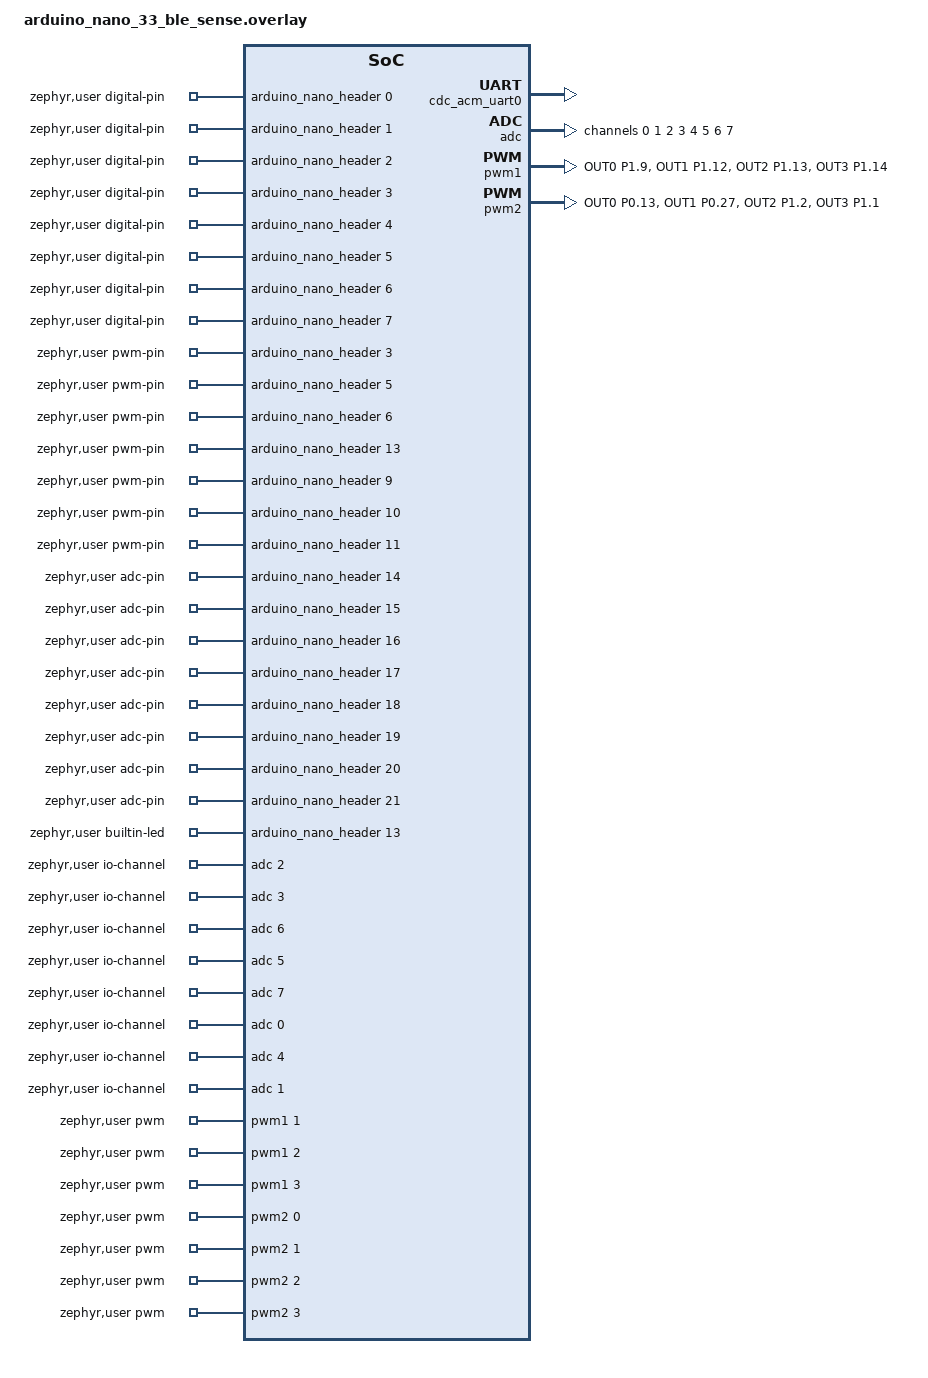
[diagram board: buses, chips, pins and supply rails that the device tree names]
&zephyr_udc0 {
	cdc_acm_uart0: cdc_acm_uart0 {
		compatible = "zephyr,cdc-acm-uart";
		status = "okay";
	};
};

&flash0 {
	partitions {
		compatible = "fixed-partitions";
		#address-cells = <1>;
		#size-cells = <1>;

		boot_partition: partition@0 {
			label = "sam-ba";
			reg = <0x00000000 0x00010000>;
			read-only;
		};

		code_partition: partition@10000 {
			label = "code";
			reg = <0x00010000 0x000d0000>;
			read-only;
		};

		user_sketch: partition@e0000 {
			label = "user";
			reg = <0x0e0000 0x18000>;
		};

		/*
		 * The flash starting at 0x000f8000 and ending at
		 * 0x000fffff is reserved for use by the application.
		 *
		 * Storage partition will be used by FCB/LittleFS/NVS
		 * if enabled.
		 */
		storage_partition: partition@f8000 {
			label = "storage";
			reg = <0x000f8000 0x00008000>;
		};
	};
};


/ {
	zephyr,user {
		digital-pin-gpios = <&arduino_nano_header 0 0>,
				    <&arduino_nano_header 1 0>,
				    <&arduino_nano_header 2 0>,
				    <&arduino_nano_header 3 0>,
				    <&arduino_nano_header 4 0>,
				    <&arduino_nano_header 5 0>,
				    <&arduino_nano_header 6 0>,
				    <&arduino_nano_header 7 0>,
				    <&arduino_nano_header 8 0>,
				    <&arduino_nano_header 9 0>,
				    <&arduino_nano_header 10 0>,
				    <&arduino_nano_header 11 0>,
				    <&arduino_nano_header 12 0>,
				    <&arduino_nano_header 13 0>,
				    <&arduino_nano_header 14 0>, /* D14 / A0 */
				    <&arduino_nano_header 15 0>,
				    <&arduino_nano_header 16 0>,
				    <&arduino_nano_header 17 0>,
				    <&arduino_nano_header 18 0>, /* D18 / A4 / I2C-SDA */
				    <&arduino_nano_header 19 0>, /* D19 / A5 / I2C-SCL */
				    <&arduino_nano_header 20 0>,
				    <&arduino_nano_header 21 0>;

		pwm-pin-gpios =	    <&arduino_nano_header 3 0>,
				    <&arduino_nano_header 5 0>,
				    <&arduino_nano_header 6 0>,
				    <&arduino_nano_header 13 0>,
				    <&arduino_nano_header 9 0>,
				    <&arduino_nano_header 10 0>,
				    <&arduino_nano_header 11 0>;

		adc-pin-gpios =	    <&arduino_nano_header 14 0>,
				    <&arduino_nano_header 15 0>,
				    <&arduino_nano_header 16 0>,
				    <&arduino_nano_header 17 0>,
				    <&arduino_nano_header 18 0>,
				    <&arduino_nano_header 19 0>,
				    <&arduino_nano_header 20 0>,
				    <&arduino_nano_header 21 0>;

		builtin-led-gpios = <&arduino_nano_header 13 0>;

		pwms =	<&pwm1 1 255 PWM_POLARITY_NORMAL>,
			<&pwm1 2 255 PWM_POLARITY_NORMAL>,
			<&pwm1 3 255 PWM_POLARITY_NORMAL>,
			<&pwm2 0 255 PWM_POLARITY_NORMAL>,
			<&pwm2 1 255 PWM_POLARITY_NORMAL>,
			<&pwm2 2 255 PWM_POLARITY_NORMAL>,
			<&pwm2 3 255 PWM_POLARITY_NORMAL>;

		io-channels =	<&adc 2>,
				<&adc 3>,
				<&adc 6>,
				<&adc 5>,
				<&adc 7>,
				<&adc 0>,
				<&adc 4>,
				<&adc 1>;

		serials = <&cdc_acm_uart0>, <&uart0>;
		cdc-acm = <&cdc_acm_uart0>;
		i2cs = <&arduino_nano_i2c>;
	};
};

&adc {
	#address-cells = <1>;
	#size-cells = <0>;

	channel@0 {
		reg = <0>;
		zephyr,gain = "ADC_GAIN_1_6";
		zephyr,reference = "ADC_REF_INTERNAL";
		zephyr,acquisition-time = <ADC_ACQ_TIME_DEFAULT>;
		zephyr,input-positive = <NRF_SAADC_AIN0>; /* P0.02 */
		zephyr,resolution = <10>;
	};

	channel@1 {
		reg = <1>;
		zephyr,gain = "ADC_GAIN_1_6";
		zephyr,reference = "ADC_REF_INTERNAL";
		zephyr,acquisition-time = <ADC_ACQ_TIME_DEFAULT>;
		zephyr,input-positive = <NRF_SAADC_AIN1>; /* P0.03 */
		zephyr,resolution = <10>;
	};

	channel@2 {
		reg = <2>;
		zephyr,gain = "ADC_GAIN_1_6";
		zephyr,reference = "ADC_REF_INTERNAL";
		zephyr,acquisition-time = <ADC_ACQ_TIME_DEFAULT>;
		zephyr,input-positive = <NRF_SAADC_AIN2>; /* P0.04 */
		zephyr,resolution = <10>;
	};

	channel@3 {
		reg = <3>;
		zephyr,gain = "ADC_GAIN_1_6";
		zephyr,reference = "ADC_REF_INTERNAL";
		zephyr,acquisition-time = <ADC_ACQ_TIME_DEFAULT>;
		zephyr,input-positive = <NRF_SAADC_AIN3>; /* P0.05 */
		zephyr,resolution = <10>;
	};

	channel@4 {
		reg = <4>;
		zephyr,gain = "ADC_GAIN_1_6";
		zephyr,reference = "ADC_REF_INTERNAL";
		zephyr,acquisition-time = <ADC_ACQ_TIME_DEFAULT>;
		zephyr,input-positive = <NRF_SAADC_AIN4>; /* P0.28 */
		zephyr,resolution = <10>;
	};

	channel@5 {
		reg = <5>;
		zephyr,gain = "ADC_GAIN_1_6";
		zephyr,reference = "ADC_REF_INTERNAL";
		zephyr,acquisition-time = <ADC_ACQ_TIME_DEFAULT>;
		zephyr,input-positive = <NRF_SAADC_AIN5>; /* P0.29 */
		zephyr,resolution = <10>;
	};

	channel@6 {
		reg = <6>;
		zephyr,gain = "ADC_GAIN_1_6";
		zephyr,reference = "ADC_REF_INTERNAL";
		zephyr,acquisition-time = <ADC_ACQ_TIME_DEFAULT>;
		zephyr,input-positive = <NRF_SAADC_AIN6>; /* P0.30 */
		zephyr,resolution = <10>;
	};

	channel@7 {
		reg = <7>;
		zephyr,gain = "ADC_GAIN_1_6";
		zephyr,reference = "ADC_REF_INTERNAL";
		zephyr,acquisition-time = <ADC_ACQ_TIME_DEFAULT>;
		zephyr,input-positive = <NRF_SAADC_AIN7>; /* P0.31 */
		zephyr,resolution = <10>;
	};
};

&pinctrl {
	pwm1_default: pwm1_default {
		group1 {
			psels = <NRF_PSEL(PWM_OUT0, 1, 9)>, /* keep original config */
				<NRF_PSEL(PWM_OUT1, 1, 12)>,
				<NRF_PSEL(PWM_OUT2, 1, 13)>,
				<NRF_PSEL(PWM_OUT3, 1, 14)>;
				nordic,invert;
		};
	};

	pwm1_sleep: pwm1_sleep {
		group1 {
			psels = <NRF_PSEL(PWM_OUT0, 1, 9)>, /* keep original config */
				<NRF_PSEL(PWM_OUT1, 1, 12)>,
				<NRF_PSEL(PWM_OUT2, 1, 13)>,
				<NRF_PSEL(PWM_OUT3, 1, 14)>;
				low-power-enable;
		};
	};

	pwm2_default: pwm2_default {
		group1 {
			psels = <NRF_PSEL(PWM_OUT0, 0, 13)>, /* keep original config */
				<NRF_PSEL(PWM_OUT1, 0, 27)>,
				<NRF_PSEL(PWM_OUT2, 1, 2)>,
				<NRF_PSEL(PWM_OUT3, 1, 1)>;
				nordic,invert;
		};
	};

	pwm2_sleep: pwm2_sleep {
		group1 {
			psels = <NRF_PSEL(PWM_OUT0, 0, 13)>, /* keep original config */
				<NRF_PSEL(PWM_OUT1, 0, 27)>,
				<NRF_PSEL(PWM_OUT2, 1, 2)>,
				<NRF_PSEL(PWM_OUT3, 1, 1)>;
				low-power-enable;
		};
	};
};

&pwm1 {
	status = "okay";
	pinctrl-0 = <&pwm1_default>;
	pinctrl-1 = <&pwm1_sleep>;
	pinctrl-names = "default", "sleep";
};

&pwm2 {
	status = "okay";
	pinctrl-0 = <&pwm2_default>;
	pinctrl-1 = <&pwm2_sleep>;
	pinctrl-names = "default", "sleep";
};
